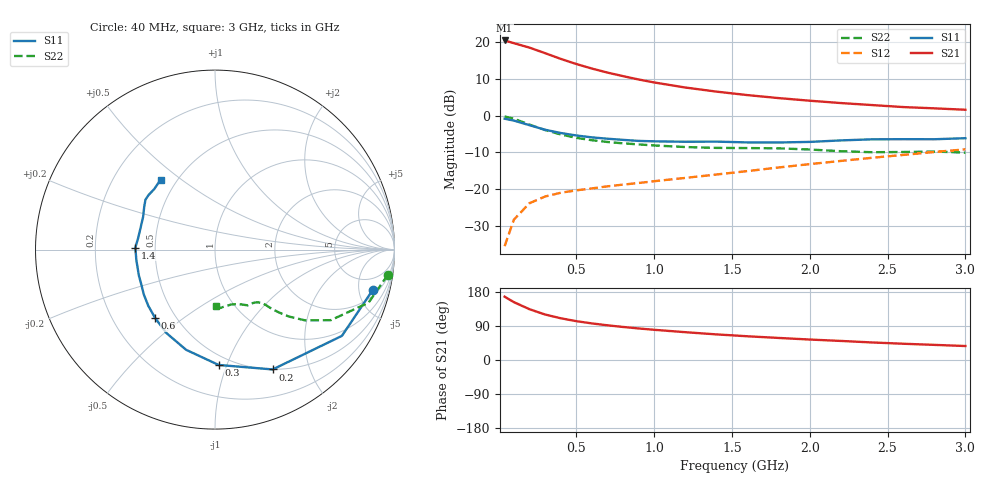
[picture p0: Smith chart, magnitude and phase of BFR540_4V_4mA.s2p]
! Filename:  BFR540A.S2P  Version:  3.0
! Philips part #: BFR540  Date: Feb 1992
! Bias condition: Vce=4V, Ic=4mA
#  MHz  S  MA  R  50
! Freq  S11  S21  S12  S22  !GUM [dB]
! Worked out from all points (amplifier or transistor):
!   21 points, 40 MHz to 3 GHz, reference 50 ohm
!   highest |S21| = 20.4 dB at 40 MHz (marker M1)
!   |S21| within 3 dB of that: start of sweep to 270.5 MHz
!   unconditionally stable (mu >= 1): 1.163 GHz to 2.473 GHz
!   at 300 MHz: K = 0.40, MSG = 19.4 dB, |S12| = -21.9 dB
!   at 1 GHz: K = 0.94, MSG = 13.4 dB, |S12| = -17.8 dB
!   at 3 GHz: K = 0.95, MSG = 5.4 dB, |S12| = -9.1 dB
!   S11 on the Smith chart (normalised r, x): 40 MHz: 2.74, -6.97; 200 MHz: 0.50, -1.47; 300 MHz: 0.43, -0.94; 600 MHz: 0.39, -0.40; 1.4 GHz: 0.39, +0.01; 3 GHz: 0.41, +0.42
40  0.908 -14.2  10.43 167.1  0.017 81.4  0.974 -8.2
100  0.855 -34.2  9.573 152.6  0.039 70.1  0.905 -19.1
200  0.741 -64.3  8.335 134.0  0.065 57.7  0.755 -31.4
300  0.643 -88.2  7.018 120.0  0.08 51.4  0.637 -38.2
400  0.581 -106.1  5.873 110.2  0.09 48.5  0.555 -42.2
500  0.538 -120.2  5.006 102.5  0.097 47.8  0.5 -44.5
600  0.507 -131.0  4.344 96.6  0.103 48.2  0.464 -45.9
700  0.486 -139.9  3.83 91.6  0.11 49.2  0.439 -46.8
800  0.469 -147.7  3.428 87.2  0.116 50.7  0.421 -47.4
900  0.454 -154.8  3.087 83.3  0.122 52.3  0.407 -48.1
1000  0.448 -161.3  2.814 79.7  0.129 53.7  0.394 -48.9
1200  0.442 -172.5  2.403 73.4  0.143 56.8  0.375 -51.4
1400  0.444 178.6  2.114 67.6  0.159 59.4  0.365 -54.6
1600  0.433 171.5  1.895 62.6  0.177 62.2  0.363 -56.9
1800  0.432 163.9  1.727 58.2  0.198 63.9  0.36 -59.6
2000  0.44 155.6  1.591 54.0  0.22 65.1  0.347 -62.4
2200  0.461 148.8  1.479 50.3  0.243 65.9  0.329 -67.0
2400  0.477 144.3  1.389 46.3  0.268 65.9  0.319 -73.8
2600  0.479 140.6  1.305 42.9  0.293 65.7  0.321 -80.2
2800  0.478 135.0  1.254 39.9  0.321 65.2  0.326 -84.6
3000  0.494 127.8  1.2 36.9  0.349 64.3  0.315 -88.5
